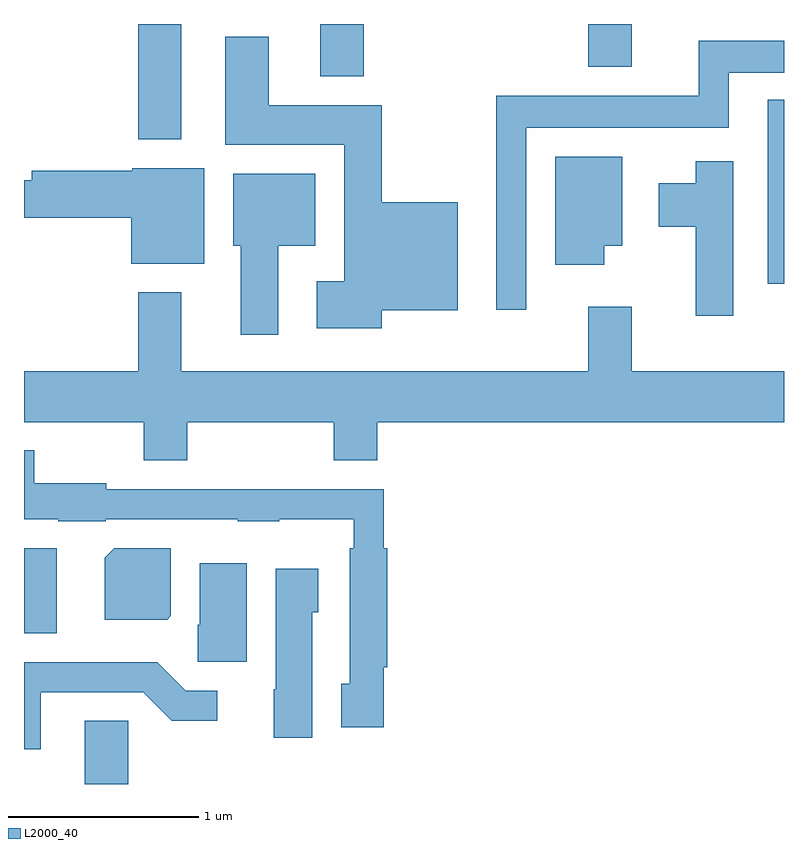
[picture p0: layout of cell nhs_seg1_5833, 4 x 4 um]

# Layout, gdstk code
import gdstk
lib = gdstk.Library(unit=1e-6, precision=1e-09)
def R(c, l, rs):  # rectangles x0, y0, x1, y1
    for r in rs: c.add(gdstk.rectangle(r[:2], r[2:], *l))
def P(c, l, *ps):  # polygons
    for p in ps: c.add(gdstk.Polygon(p, *l))
L2000_40 = (2000, 40)

nhs_seg1_5833 = lib.new_cell('nhs_seg1_5833')
R(nhs_seg1_5833, L2000_40, [(361.931,857.712,362.159,858.044), (361.611,858.506,361.784,858.954), (365.526,860.346,365.611,861.313), (362.211,861.106,362.439,861.712), (363.171,861.436,363.399,861.712), (364.581,861.486,364.809,861.712)])
P(nhs_seg1_5833, L2000_40, [(363.494,860.206),(363.894,860.206),(363.894,860.774),(363.494,860.774),(363.494,861.284),(362.899,861.284),(362.899,861.644),(362.671,861.644),(362.671,861.076),(363.296,861.076),(363.296,860.359),(363.151,860.359),(363.151,860.111),(363.494,860.111)],
  [(364.254,861.166),(365.319,861.166),(365.319,861.456),(365.611,861.456),(365.611,861.624),(365.161,861.624),(365.161,861.334),(364.096,861.334),(364.096,860.208),(364.254,860.208)],
  [(364.664,860.546),(364.759,860.546),(364.759,861.014),(364.406,861.014),(364.406,860.446),(364.664,860.446)],
  [(365.344,860.989),(365.146,860.989),(365.146,860.874),(364.951,860.874),(364.951,860.646),(365.146,860.646),(365.146,860.176),(365.344,860.176)],
  [(362.559,860.954),(362.18,860.954),(362.18,860.939),(361.651,860.939),(361.651,860.889),(361.611,860.889),(361.611,860.691),(362.176,860.691),(362.176,860.451),(362.559,860.451)],
  [(362.949,860.546),(363.144,860.546),(363.144,860.924),(362.711,860.924),(362.711,860.546),(362.751,860.546),(362.751,860.076),(362.949,860.076)],
  [(362.469,859.616),(363.241,859.616),(363.241,859.416),(363.469,859.416),(363.469,859.616),(365.611,859.616),(365.611,859.884),(364.809,859.884),(364.809,860.224),(364.581,860.224),(364.581,859.884),(362.439,859.884),(362.439,860.299),(362.211,860.299),(362.211,859.884),(361.611,859.884),(361.611,859.616),(362.241,859.616),(362.241,859.416),(362.469,859.416)],
  [(363.504,858.326),(363.524,858.326),(363.524,858.954),(363.504,858.954),(363.504,859.264),(362.044,859.264),(362.044,859.294),(361.664,859.294),(361.664,859.468),(361.611,859.468),(361.611,859.106),(361.79,859.106),(361.79,859.096),(362.04,859.096),(362.04,859.106),(362.735,859.106),(362.735,859.096),(362.955,859.096),(362.955,859.106),(363.346,859.106),(363.346,858.954),(363.326,858.954),(363.326,858.239),(363.281,858.239),(363.281,858.011),(363.504,858.011)],
  [(362.384,858.597),(362.384,858.954),(362.087,858.954),(362.036,858.904),(362.036,858.576),(362.364,858.576)],
  [(362.784,858.874),(362.536,858.874),(362.536,858.55),(362.526,858.55),(362.526,858.356),(362.784,858.356)],
  [(363.129,858.616),(363.159,858.616),(363.159,858.844),(362.936,858.844),(362.936,858.21),(362.926,858.21),(362.926,857.956),(363.129,857.956)],
  [(361.699,858.196),(362.239,858.196),(362.389,858.046),(362.628,858.046),(362.628,858.204),(362.462,858.204),(362.312,858.354),(361.611,858.354),(361.611,857.896),(361.699,857.896)])

lib.write_gds('nhs_seg1_5833.gds')
